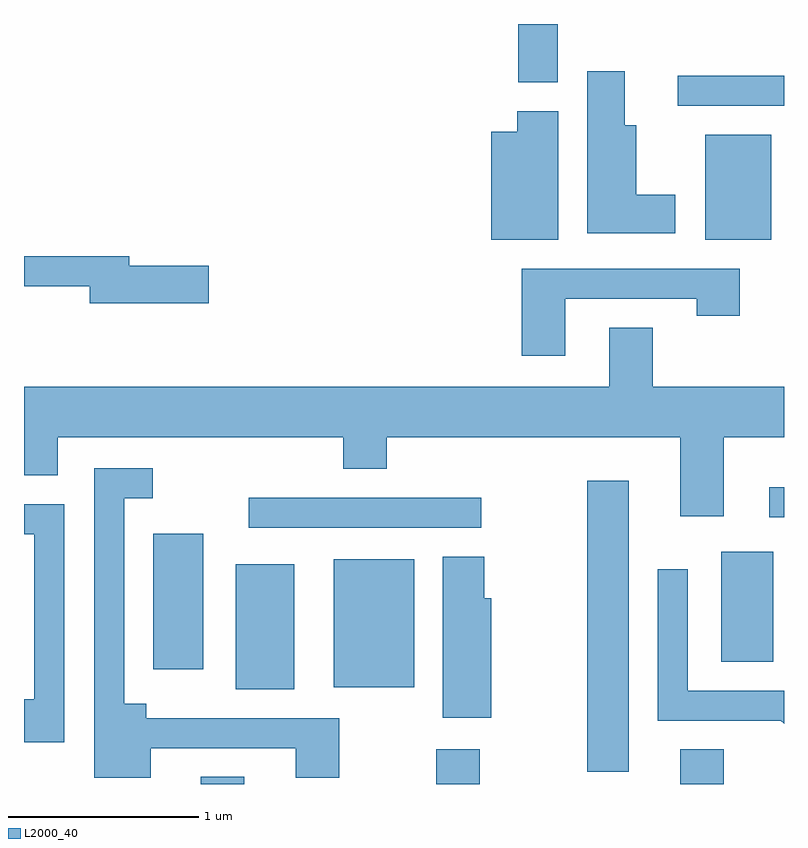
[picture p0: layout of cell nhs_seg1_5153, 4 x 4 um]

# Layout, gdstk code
import gdstk
lib = gdstk.Library(unit=1e-6, precision=1e-09)
def R(c, l, rs):  # rectangles x0, y0, x1, y1
    for r in rs: c.add(gdstk.rectangle(r[:2], r[2:], *l))
def P(c, l, *ps):  # polygons
    for p in ps: c.add(gdstk.Polygon(p, *l))
L2000_40 = (2000, 40)

nhs_seg1_5153 = lib.new_cell('nhs_seg1_5153')
R(nhs_seg1_5153, L2000_40, [(340.541,937.712,340.769,937.749), (341.781,937.712,342.009,937.894), (343.066,937.712,343.294,937.894), (342.576,937.776,342.794,939.309), (340.726,938.211,341.034,938.869), (341.241,938.221,341.664,938.894), (340.291,938.316,340.554,939.029), (343.281,938.356,343.554,938.934), (340.793,939.061,342.018,939.219), (343.533,939.116,343.611,939.274), (343.196,940.576,343.544,941.129), (343.053,941.281,343.611,941.439), (342.211,941.406,342.419,941.712)])
P(nhs_seg1_5153, L2000_40, [(343.039,940.814),(342.834,940.814),(342.834,941.179),(342.774,941.179),(342.774,941.464),(342.576,941.464),(342.576,940.611),(343.039,940.611)],
  [(342.424,941.254),(342.206,941.254),(342.206,941.144),(342.071,941.144),(342.071,940.576),(342.424,940.576)],
  [(340.584,940.439),(340.164,940.439),(340.164,940.489),(339.611,940.489),(339.611,940.331),(339.956,940.331),(339.956,940.241),(340.584,940.241)],
  [(342.459,940.266),(343.151,940.266),(343.151,940.176),(343.379,940.176),(343.379,940.424),(342.231,940.424),(342.231,939.966),(342.459,939.966)],
  [(343.294,939.536),(343.611,939.536),(343.611,939.804),(342.919,939.804),(342.919,940.114),(342.691,940.114),(342.691,939.804),(339.611,939.804),(339.611,939.336),(339.789,939.336),(339.789,939.536),(341.291,939.536),(341.291,939.371),(341.519,939.371),(341.519,939.536),(343.066,939.536),(343.066,939.121),(343.294,939.121)],
  [(340.279,937.901),(341.041,937.901),(341.041,937.746),(341.269,937.746),(341.269,938.059),(340.254,938.059),(340.254,938.134),(340.139,938.134),(340.139,939.216),(340.288,939.216),(340.288,939.374),(339.981,939.374),(339.981,937.746),(340.279,937.746)],
  [(339.824,939.184),(339.611,939.184),(339.611,939.026),(339.666,939.026),(339.666,938.159),(339.611,938.159),(339.611,937.931),(339.824,937.931)],
  [(342.069,938.689),(342.034,938.689),(342.034,938.909),(341.816,938.909),(341.816,938.061),(342.069,938.061)],
  [(343.611,938.204),(343.104,938.204),(343.104,938.843),(342.946,938.843),(342.946,938.046),(343.594,938.046),(343.611,938.029)])

lib.write_gds('nhs_seg1_5153.gds')
